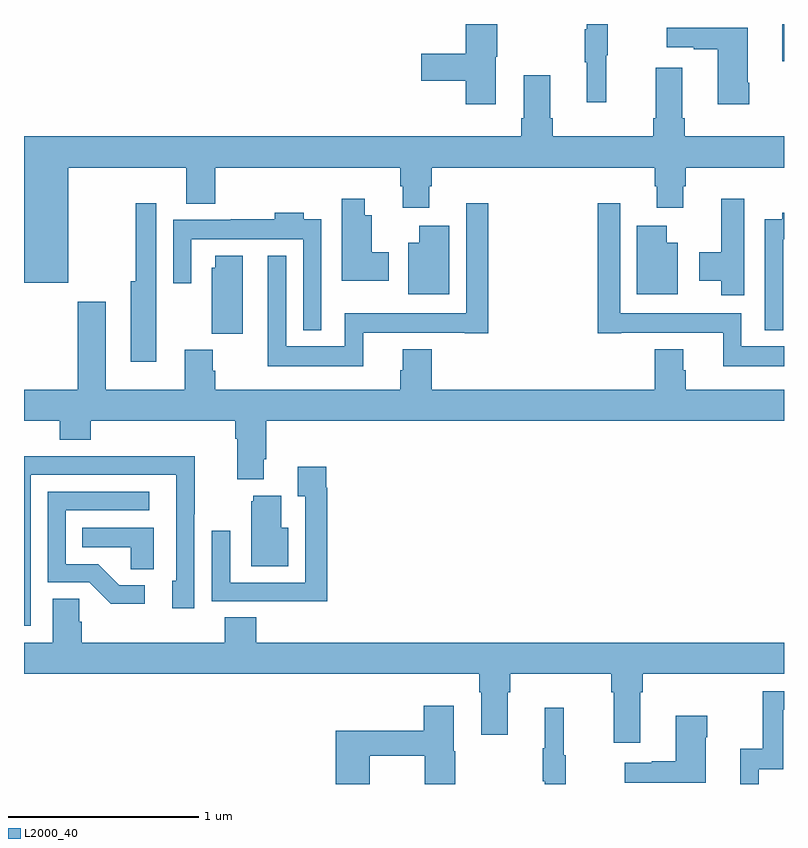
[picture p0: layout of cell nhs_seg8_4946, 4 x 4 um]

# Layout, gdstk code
import gdstk
lib = gdstk.Library(unit=1e-6, precision=1e-09)
def R(c, l, rs):  # rectangles x0, y0, x1, y1
    for r in rs: c.add(gdstk.rectangle(r[:2], r[2:], *l))
def P(c, l, *ps):  # polygons
    for p in ps: c.add(gdstk.Polygon(p, *l))
L2000_40 = (2000, 40)

nhs_seg8_4946 = lib.new_cell('nhs_seg8_4946')
R(nhs_seg8_4946, L2000_40, [(412.991,1139.703,413,1139.9)])
P(nhs_seg8_4946, L2000_40, [(411.484,1139.727),(411.492,1139.727),(411.492,1139.9),(411.326,1139.9),(411.326,1139.744),(411.09,1139.744),(411.09,1139.602),(411.326,1139.602),(411.326,1139.478),(411.484,1139.478)],
  [(412.064,1139.736),(412.072,1139.736),(412.072,1139.9),(411.962,1139.9),(411.962,1139.873),(411.951,1139.873),(411.951,1139.699),(411.962,1139.699),(411.962,1139.487),(412.064,1139.487)],
  [(412.818,1139.59),(412.81,1139.59),(412.81,1139.881),(412.383,1139.881),(412.383,1139.777),(412.526,1139.777),(412.526,1139.767),(412.652,1139.767),(412.652,1139.478),(412.818,1139.478)],
  [(409.234,1139.144),(409.853,1139.144),(409.853,1138.955),(410.006,1138.955),(410.006,1139.144),(410.981,1139.144),(410.981,1139.046),(410.993,1139.046),(410.993,1138.932),(411.133,1138.932),(411.133,1139.046),(411.146,1139.046),(411.146,1139.144),(412.319,1139.144),(412.319,1139.046),(412.331,1139.046),(412.331,1138.932),(412.471,1138.932),(412.471,1139.046),(412.484,1139.046),(412.484,1139.144),(413,1139.144),(413,1139.308),(412.478,1139.308),(412.478,1139.404),(412.465,1139.404),(412.465,1139.671),(412.325,1139.671),(412.325,1139.404),(412.313,1139.404),(412.313,1139.308),(411.782,1139.308),(411.782,1139.404),(411.769,1139.404),(411.769,1139.629),(411.629,1139.629),(411.629,1139.404),(411.617,1139.404),(411.617,1139.308),(409,1139.308),(409,1138.538),(409.234,1138.538)],
  [(410.92,1138.698),(410.83,1138.698),(410.83,1138.894),(410.794,1138.894),(410.794,1138.981),(410.672,1138.981),(410.672,1138.55),(410.92,1138.55)],
  [(412.792,1138.981),(412.67,1138.981),(412.67,1138.698),(412.553,1138.698),(412.553,1138.55),(412.67,1138.55),(412.67,1138.473),(412.792,1138.473)],
  [(413,1138.204),(412.776,1138.204),(412.776,1138.378),(412.137,1138.378),(412.137,1138.957),(412.021,1138.957),(412.021,1138.272),(412.144,1138.272),(412.144,1138.274),(412.679,1138.274),(412.679,1138.1),(413,1138.1)],
  [(409.696,1138.442),(409.695,1138.442),(409.695,1138.957),(409.587,1138.957),(409.587,1138.546),(409.562,1138.546),(409.562,1138.122),(409.696,1138.122)],
  [(410.786,1138.274),(411.32,1138.274),(411.32,1138.272),(411.443,1138.272),(411.443,1138.957),(411.327,1138.957),(411.327,1138.378),(410.688,1138.378),(410.688,1138.204),(410.379,1138.204),(410.379,1138.681),(410.282,1138.681),(410.282,1138.1),(410.786,1138.1)],
  [(410.565,1138.873),(410.473,1138.873),(410.473,1138.906),(410.321,1138.906),(410.321,1138.873),(410.089,1138.873),(410.089,1138.87),(409.785,1138.87),(409.785,1138.536),(409.881,1138.536),(409.881,1138.766),(410.469,1138.766),(410.469,1138.289),(410.565,1138.289)],
  [(412.995,1138.766),(413,1138.766),(413,1138.906),(412.991,1138.906),(412.991,1138.873),(412.899,1138.873),(412.899,1138.289),(412.995,1138.289)],
  [(412.441,1138.75),(412.384,1138.75),(412.384,1138.837),(412.226,1138.837),(412.226,1138.478),(412.441,1138.478)],
  [(411.238,1138.837),(411.08,1138.837),(411.08,1138.75),(411.023,1138.75),(411.023,1138.478),(411.238,1138.478)],
  [(410.152,1138.681),(410.006,1138.681),(410.006,1138.617),(409.988,1138.617),(409.988,1138.27),(410.152,1138.27)],
  [(410.263,1137.61),(410.276,1137.61),(410.276,1137.812),(413,1137.812),(413,1137.976),(412.484,1137.976),(412.484,1138.077),(412.471,1138.077),(412.471,1138.189),(412.319,1138.189),(412.319,1137.976),(411.146,1137.976),(411.146,1138.189),(410.993,1138.189),(410.993,1138.077),(410.981,1138.077),(410.981,1137.976),(410.006,1137.976),(410.006,1138.076),(409.993,1138.076),(409.993,1138.185),(409.846,1138.185),(409.846,1137.976),(409.429,1137.976),(409.429,1138.438),(409.282,1138.438),(409.282,1137.976),(409,1137.976),(409,1137.812),(409.187,1137.812),(409.187,1137.713),(409.352,1137.713),(409.352,1137.812),(410.111,1137.812),(410.111,1137.716),(410.123,1137.716),(410.123,1137.503),(410.263,1137.503)],
  [(409.035,1137.528),(409.8,1137.528),(409.8,1136.97),(409.781,1136.97),(409.781,1136.826),(409.896,1136.826),(409.896,1137.319),(409.899,1137.319),(409.899,1137.626),(409.435,1137.626),(409.435,1137.624),(409,1137.624),(409,1136.733),(409.035,1136.733)],
  [(410.597,1137.458),(410.59,1137.458),(410.59,1137.571),(410.441,1137.571),(410.441,1137.415),(410.481,1137.415),(410.481,1136.958),(410.085,1136.958),(410.085,1137.232),(409.989,1137.232),(409.989,1136.862),(410.305,1136.862),(410.305,1136.861),(410.597,1136.861)],
  [(409.636,1136.946),(409.501,1136.946),(409.39,1137.057),(409.221,1137.057),(409.221,1137.342),(409.66,1137.342),(409.66,1137.438),(409.125,1137.438),(409.125,1136.961),(409.344,1136.961),(409.457,1136.849),(409.636,1136.849)],
  [(410.392,1137.25),(410.353,1137.25),(410.353,1137.418),(410.207,1137.418),(410.207,1137.387),(410.195,1137.387),(410.195,1137.047),(410.392,1137.047)],
  [(409.684,1137.25),(409.306,1137.25),(409.306,1137.146),(409.563,1137.146),(409.563,1137.031),(409.684,1137.031)],
  [(412.243,1136.384),(412.256,1136.384),(412.256,1136.48),(413,1136.48),(413,1136.644),(410.222,1136.644),(410.222,1136.777),(410.057,1136.777),(410.057,1136.644),(409.304,1136.644),(409.304,1136.753),(409.29,1136.753),(409.29,1136.876),(409.151,1136.876),(409.151,1136.644),(409,1136.644),(409,1136.48),(411.395,1136.48),(411.395,1136.384),(411.407,1136.384),(411.407,1136.16),(411.547,1136.16),(411.547,1136.384),(411.56,1136.384),(411.56,1136.48),(412.091,1136.48),(412.091,1136.384),(412.103,1136.384),(412.103,1136.118),(412.243,1136.118)],
  [(412.866,1135.977),(412.995,1135.977),(412.995,1136.292),(413,1136.292),(413,1136.388),(412.887,1136.388),(412.887,1136.086),(412.769,1136.086),(412.769,1135.9),(412.866,1135.9)],
  [(410.82,1136.05),(411.109,1136.05),(411.109,1135.9),(411.27,1135.9),(411.27,1136.073),(411.262,1136.073),(411.262,1136.311),(411.104,1136.311),(411.104,1136.179),(410.642,1136.179),(410.642,1135.9),(410.82,1135.9)],
  [(411.85,1136.052),(411.842,1136.052),(411.842,1136.302),(411.74,1136.302),(411.74,1136.089),(411.729,1136.089),(411.729,1135.915),(411.74,1135.915),(411.74,1135.9),(411.85,1135.9)],
  [(412.588,1136.147),(412.596,1136.147),(412.596,1136.26),(412.43,1136.26),(412.43,1136.021),(412.304,1136.021),(412.304,1136.011),(412.161,1136.011),(412.161,1135.907),(412.588,1135.907)])

lib.write_gds('nhs_seg8_4946.gds')
